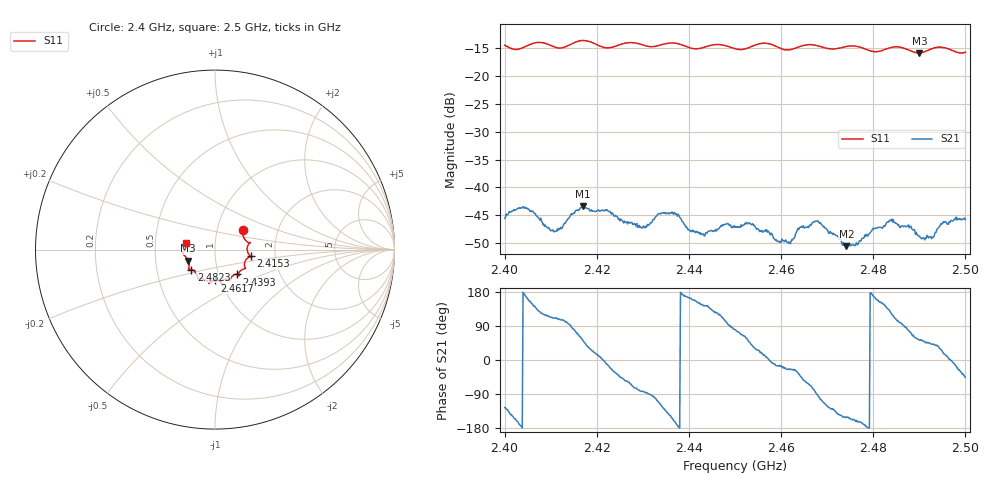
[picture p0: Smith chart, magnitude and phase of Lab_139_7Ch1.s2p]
# Hz S RI R 50
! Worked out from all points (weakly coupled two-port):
!   601 points, 2.4 GHz to 2.5 GHz, reference 50 ohm
!   highest |S21| = -43.42 dB at 2.417 GHz (marker M1); lowest = -50.5 dB at 2.4742 GHz (marker M2)
!   lowest |S11| = -15.8 dB at 2.49 GHz (marker M3), VSWR 1.39, Z = 36.7 - j4.62 ohm
!   |S11| at or under -10 dB: start of sweep to end of sweep
!   S12 and S22 are empty: the file has one direction only
!   S11 on the Smith chart (normalised r, x): 2.4 GHz: 1.33, +0.30; 2.4153 GHz: 1.49, -0.12; 2.4393 GHz: 1.23, -0.35; 2.4617 GHz: 0.94, -0.33; 2.4823 GHz: 0.75, -0.17; 2.5 GHz: 0.72, +0.05
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2.4e9  0.1554 0.1084  -0.00307 -0.0043  0 0  0 0
2.404333e9  0.1774 0.0449  -0.00661 0.000855  0 0  0 0
2.410833e9  0.1819 0.0196  -0.00139 0.00375  0 0  0 0
2.415333e9  0.1981 -0.0377  0.00153 0.00596  0 0  0 0
2.416667e9  0.2046 -0.0421  0.00371 0.00545  0 0  0 0
2.417e9  0.205 -0.0424  0.0042 0.00528  0 0  0 0
2.429833e9  0.1579 -0.1089  0.00058 -0.00428  0 0  0 0
2.433333e9  0.132 -0.134  -0.00195 -0.00547  0 0  0 0
2.437333e9  0.1337 -0.1448  -0.00571 -0.000959  0 0  0 0
2.439333e9  0.1229 -0.1382  -0.0043 0.000901  0 0  0 0
2.443e9  0.0899 -0.1561  -0.00311 0.00215  0 0  0 0
2.45e9  0.066 -0.1638  0.000724 0.00432  0 0  0 0
2.453333e9  0.0369 -0.179  0.00338 0.0033  0 0  0 0
2.461667e9  0.000234 -0.1721  0.00298 -0.00129  0 0  0 0
2.464e9  -0.0272 -0.1821  0.00337 -0.00276  0 0  0 0
2.466667e9  -0.0335 -0.1887  0.00151 -0.00452  0 0  0 0
2.468167e9  -0.0348 -0.1832  -0.000619 -0.00485  0 0  0 0
2.474167e9  -0.0885 -0.1622  -0.00258 -0.00147  0 0  0 0
2.482333e9  -0.132 -0.111  -0.00381 0.00248  0 0  0 0
2.483333e9  -0.1407 -0.1099  -0.00333 0.00358  0 0  0 0
2.49e9  -0.1495 -0.0612  0.0022 0.00293  0 0  0 0
2.5e9  -0.1598 0.0364  0.00357 -0.00368  0 0  0 0
